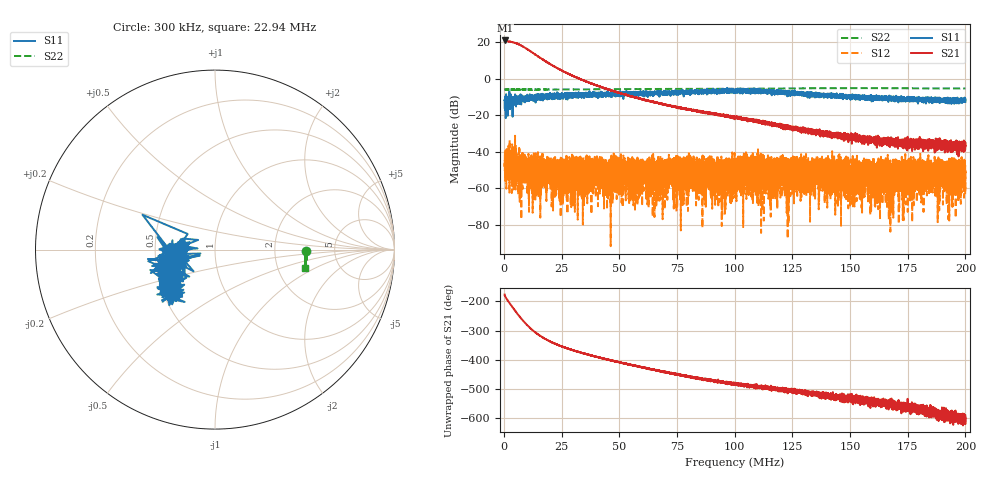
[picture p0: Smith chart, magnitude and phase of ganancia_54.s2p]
# Hz S DB R 50
! CMT, M5065, 19127446, 24.2.4/2
! Date: 11/8/2024 5:24:35 PM
! Data: Format (Calibration Info)
! Freq	S11:dB/Ang(F2)	S21:dB/Ang(F2)	S12:dB/Ang(F2)	S22:dB/Ang(F2)
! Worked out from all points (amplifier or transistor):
!   9000 points, 300 kHz to 200 MHz, reference 50 ohm
!   highest |S21| = 21.1 dB at 388.8 kHz (marker M1)
!   |S21| within 3 dB of that: start of sweep to 7.776 MHz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
!   unconditionally stable (mu >= 1): start of sweep to end of sweep
!   at 33.59 MHz: K = 226.90, MAG = 1.6 dB, |S12| = -56.7 dB
!   at 100.2 MHz: K = 500.44, MAG = -18.8 dB, |S12| = -43.8 dB
!   at 200 MHz: K = 29334.84, MAG = -35.2 dB, |S12| = -62.0 dB
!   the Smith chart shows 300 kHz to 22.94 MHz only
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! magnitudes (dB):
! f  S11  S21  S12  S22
! 300 kHz  -11.6  20.7  -46.0  -5.9
! 388.8 kHz  -16.3  21.1  -45.4  -5.9
! 11.51 MHz  -9.1  15.1  -43.9  -5.8
! 33.59 MHz  -8.7  -0.4  -56.7  -5.8
! 39.73 MHz  -9.2  -3.4  -44.1  -5.7
! 46.75 MHz  -8.5  -6.4  -53.7  -5.7
! 56.6 MHz  -8.5  -10.2  -47.8  -5.6
! 59 MHz  -8.0  -10.8  -54.4  -5.6
! 61.02 MHz  -7.9  -11.6  -48.5  -5.6
! 66.87 MHz  -8.7  -13.3  -52.1  -5.5
! 72.11 MHz  -8.0  -14.9  -46.7  -5.5
! 77.66 MHz  -7.8  -16.0  -56.7  -5.5
! 79.88 MHz  -7.2  -16.8  -54.8  -5.5
! 91.2 MHz  -7.0  -19.0  -51.2  -5.4
! 100.2 MHz  -6.1  -21.5  -43.8  -5.4
! 133.4 MHz  -9.2  -29.0  -54.4  -5.1
! 166.7 MHz  -11.2  -33.8  -59.6  -5.1
! 178.3 MHz  -11.4  -34.5  -46.1  -5.2
! 184.3 MHz  -11.6  -35.9  -44.9  -5.2
! 195.1 MHz  -12.1  -36.3  -54.2  -5.3
! 198.9 MHz  -11.7  -35.6  -58.4  -5.3
! 200 MHz  -12.7  -37.0  -62.0  -5.3
